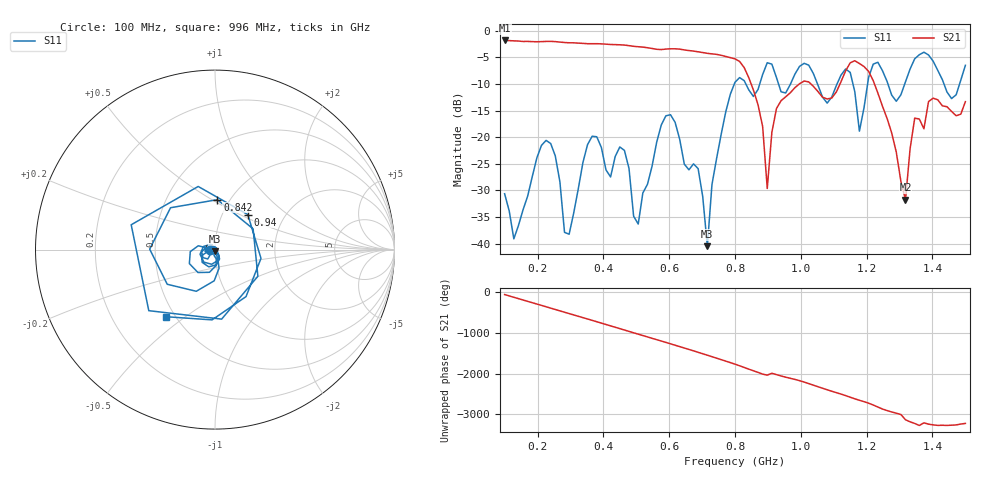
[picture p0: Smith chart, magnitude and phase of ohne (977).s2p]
! NanoVNA-App
! Date: 2025-09-25 14:28:24
! Start: 100MHz Stop: 1,5GHz Points: 101
! S-Parameter data: F S11 S21 S12 S22
# Hz S RI R 50
!  Frequency  S11_Real  S11_Imag  S21_Real  S21_Imag  S12_Real  S12_Imag  S22_Real  S22_Imag
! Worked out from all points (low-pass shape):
!   101 points, 100 MHz to 1.5 GHz, reference 50 ohm
!   highest |S21| = -1.79 dB at 100 MHz (marker M1); lowest = -31.8 dB at 1.318 GHz (marker M2)
!   |S21| within 3 dB of the highest: start of sweep to 771.1 MHz
!   lowest |S11| = -40.5 dB at 716 MHz (marker M3), VSWR 1.02, Z = 49.8 - j0.928 ohm
!   |S11| at or under -10 dB: start of sweep to 797.9 MHz; 833.1 MHz to 875 MHz (41.93 MHz wide, 4.91 % of centre); 1.051 GHz to 1.11 GHz (59.07 MHz wide, 5.47 % of centre) (the widest 3 of 7)
!   S12 and S22 are empty: the file has one direction only
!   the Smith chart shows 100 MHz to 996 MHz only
!   S11 on the Smith chart (normalised r, x): 100 MHz: 0.94, -0.01; 842 MHz: 0.88, +0.53; 940 MHz: 1.32, +0.55; 996 MHz: 0.44, -0.42
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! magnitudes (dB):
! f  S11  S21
! 100 MHz  -30.6  -1.8
! 128 MHz  -39.1  -1.9
! 226 MHz  -20.6  -2.0
! 296 MHz  -38.3  -2.2
! 338 MHz  -24.7  -2.3
! 464 MHz  -22.5  -2.7
! 506 MHz  -36.3  -3.0
! 576 MHz  -17.7  -3.5
! 688 MHz  -25.9  -3.9
! 716 MHz  -40.5  -4.2
! 800 MHz  -9.7  -5.3
! 842 MHz  -11.1  -8.8
! 898 MHz  -6.0  -29.6
! 940 MHz  -11.5  -13.1
! 996 MHz  -6.7  -9.9
! 1.038 GHz  -8.0  -10.4
! 1.164 GHz  -11.4  -5.6
! 1.178 GHz  -18.9  -6.1
! 1.276 GHz  -12.1  -19.2
! 1.318 GHz  -9.6  -31.8
! 1.346 GHz  -5.2  -16.4
! 1.5 GHz  -6.5  -13.3
